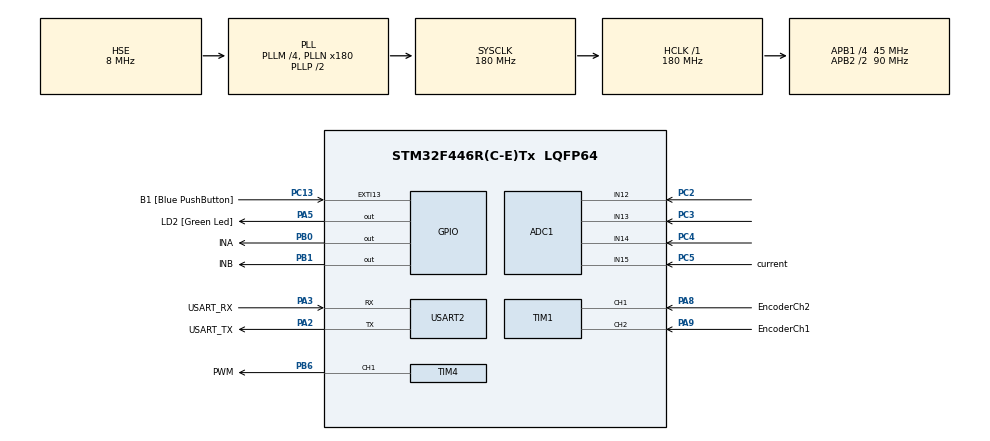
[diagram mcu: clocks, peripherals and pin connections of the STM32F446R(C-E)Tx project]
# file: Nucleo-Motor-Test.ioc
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ADC1.Channel-2\#ChannelRegularConversion=ADC_CHANNEL_15
ADC1.ContinuousConvMode=ENABLE
ADC1.DMAContinuousRequests=ENABLE
ADC1.InjNumberOfConversion=0
ADC1.NbrOfConversion=1
ADC1.NbrOfConversionFlag=1
ADC1.Rank-2\#ChannelRegularConversion=1
ADC1.SamplingTime-2\#ChannelRegularConversion=ADC_SAMPLETIME_3CYCLES
ADC1.ScanConvMode=DISABLE
ADC1.master=1
Dma.ADC1.0.Direction=DMA_PERIPH_TO_MEMORY
Dma.ADC1.0.FIFOMode=DMA_FIFOMODE_DISABLE
Dma.ADC1.0.Instance=DMA2_Stream0
Dma.ADC1.0.MemDataAlignment=DMA_MDATAALIGN_HALFWORD
Dma.ADC1.0.MemInc=DMA_MINC_ENABLE
Dma.ADC1.0.Mode=DMA_CIRCULAR
Dma.ADC1.0.PeriphDataAlignment=DMA_PDATAALIGN_HALFWORD
Dma.ADC1.0.PeriphInc=DMA_PINC_DISABLE
Dma.ADC1.0.Priority=DMA_PRIORITY_LOW
Dma.Request0=ADC1
Mcu.Family=STM32F4
Mcu.Name=STM32F446R(C-E)Tx
Mcu.Package=LQFP64
NVIC.DMA2_Stream0_IRQn=true\:0\:0\:false\:false\:true\:false\:true\:true
NVIC.PriorityGroup=NVIC_PRIORITYGROUP_0
NVIC.TIM4_IRQn=true\:0\:0\:false\:false\:true\:true\:true\:true
PA13.GPIO_Label=TMS
PA13.Mode=Serial_Wire
PA13.Signal=SYS_JTMS-SWDIO
PA14.GPIO_Label=TCK
PA14.Mode=Serial_Wire
PA14.Signal=SYS_JTCK-SWCLK
PA2.GPIO_Label=USART_TX
PA2.Mode=Asynchronous
PA2.Signal=USART2_TX
PA3.GPIO_Label=USART_RX
PA3.Mode=Asynchronous
PA3.Signal=USART2_RX
PA5.GPIO_Label=LD2 [Green Led]
PA5.Signal=GPIO_Output
PA8.GPIO_Label=EncoderCh2
PA8.Signal=S_TIM1_CH1
PA9.GPIO_Label=EncoderCh1
PA9.Signal=S_TIM1_CH2
PB0.GPIO_Label=INA
PB0.GPIO_Speed=GPIO_SPEED_FREQ_VERY_HIGH
PB0.Signal=GPIO_Output
PB1.GPIO_Label=INB
PB1.GPIO_Speed=GPIO_SPEED_FREQ_VERY_HIGH
PB1.Signal=GPIO_Output
PB3.GPIO_Label=SWO
PB3.Signal=SYS_JTDO-SWO
PB6.GPIO_Label=PWM
PB6.Signal=S_TIM4_CH1
PC13.GPIO_Label=B1 [Blue PushButton]
PC13.GPIO_ModeDefaultEXTI=GPIO_MODE_IT_FALLING
PC13.Signal=GPXTI13
PC14-OSC32_IN.Mode=LSE-External-Oscillator
PC14-OSC32_IN.Signal=RCC_OSC32_IN
PC15-OSC32_OUT.Mode=LSE-External-Oscillator
PC15-OSC32_OUT.Signal=RCC_OSC32_OUT
PC2.Signal=ADCx_IN12
PC3.Signal=ADCx_IN13
PC4.Signal=ADCx_IN14
PC5.GPIO_Label=current
PC5.Signal=ADCx_IN15
PH0-OSC_IN.Mode=HSE-External-Oscillator
PH0-OSC_IN.Signal=RCC_OSC_IN
PH1-OSC_OUT.Mode=HSE-External-Oscillator
PH1-OSC_OUT.Signal=RCC_OSC_OUT
ProjectManager.HeapSize=0x200
ProjectManager.StackSize=0x400
ProjectManager.TargetToolchain=STM32CubeIDE
RCC.48MHZClocksFreq_Value=84000000
RCC.AHBFreq_Value=180000000
RCC.APB1CLKDivider=RCC_HCLK_DIV4
RCC.APB1Freq_Value=45000000
RCC.APB1TimFreq_Value=90000000
RCC.APB2CLKDivider=RCC_HCLK_DIV2
RCC.APB2Freq_Value=90000000
RCC.APB2TimFreq_Value=180000000
RCC.CortexFreq_Value=180000000
RCC.FLatency-AdvancedSettings=FLASH_LATENCY_5
RCC.HCLKFreq_Value=180000000
RCC.HSE_VALUE=8000000
RCC.HSI_VALUE=16000000
RCC.PLLM=4
RCC.PLLN=180
RCC.PLLSourceVirtual=RCC_PLLSOURCE_HSE
RCC.SYSCLKFreq_VALUE=180000000
RCC.SYSCLKSource=RCC_SYSCLKSOURCE_PLLCLK
RCC.USBFreq_Value=180000000
RCC.VCOOutputFreq_Value=360000000
SH.ADCx_IN12.0=ADC1_IN12,IN12
SH.ADCx_IN13.0=ADC1_IN13,IN13
SH.ADCx_IN14.0=ADC1_IN14,IN14
SH.ADCx_IN15.0=ADC1_IN15,IN15
SH.S_TIM1_CH1.0=TIM1_CH1,Encoder_Interface
SH.S_TIM1_CH2.0=TIM1_CH2,Encoder_Interface
SH.S_TIM4_CH1.0=TIM4_CH1,PWM Generation1 CH1
TIM1.EncoderMode=TIM_ENCODERMODE_TI12
TIM4.Channel-PWM\ Generation1\ CH1=TIM_CHANNEL_1
TIM4.Period=7199
USART2.VirtualMode=VM_ASYNC
board=NUCLEO-F446RE

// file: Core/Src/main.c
/* USER CODE BEGIN Header */
/**
  ******************************************************************************
  * @file           : main.c
  * @brief          : Main program body
  ******************************************************************************
  * @attention
  *
  * Copyright (c) 2025 STMicroelectronics.
  * All rights reserved.
  *
  * This software is licensed under terms that can be found in the LICENSE file
  * in the root directory of this software component.
  * If no LICENSE file comes with this software, it is provided AS-IS.
  *
  ******************************************************************************
  */
/* USER CODE END Header */
#include "main.h"

/* USER CODE BEGIN Includes */
#include "encoders.h"
#include "motors.h"
#include "serial_oscilloscope.h"
#include "FIRFilter.h"

/* USER CODE END Includes */

/* USER CODE BEGIN PD */
#define NUM_CHANNELS 2

/* USER CODE END PD */

ADC_HandleTypeDef hadc1;
DMA_HandleTypeDef hdma_adc1;

TIM_HandleTypeDef htim1;
TIM_HandleTypeDef htim4;

UART_HandleTypeDef huart2;

/* USER CODE BEGIN PV */
int16_t encoder_counts = 0;
uint16_t current = 0;
float filteredCurrent = 0;

float pwm = 0.0f;
float pwm_step = 0.01f; // Change per update
uint32_t delay_ms = 50; // Delay between updates

int16_t data_values[NUM_CHANNELS];
char *labels[NUM_CHANNELS] = {"i", "f_i"};

FIRFilter currentFilterMovingAverage;

/* USER CODE END PV */

void SystemClock_Config(void);
static void MX_GPIO_Init(void);
static void MX_DMA_Init(void);
static void MX_USART2_UART_Init(void);
static void MX_TIM1_Init(void);
static void MX_TIM4_Init(void);
static void MX_ADC1_Init(void);

int main(void)
{

  /* MCU Configuration--------------------------------------------------------*/

  /* Reset of all peripherals, Initializes the Flash interface and the Systick. */
  HAL_Init();

  /* Configure the system clock */
  SystemClock_Config();

  /* Initialize all configured peripherals */
  MX_GPIO_Init();
  MX_DMA_Init();
  MX_USART2_UART_Init();
  MX_TIM1_Init();
  MX_TIM4_Init();
  MX_ADC1_Init();
  /* USER CODE BEGIN 2 */
  HAL_TIM_Encoder_Start(&htim1, TIM_CHANNEL_ALL);
  HAL_TIM_PWM_Start(&htim4, TIM_CHANNEL_1);

  resetMotors();

  /* Initialize Serial Oscilloscope */
  SerialOscilloscope_Config_t osc_config = {
	  .huart = &huart2,
	  .sample_rate_ms = 20,
	  .max_channels = NUM_CHANNELS
  };
  if (SerialOscilloscope_Init(&osc_config) != HAL_OK) {
	  Error_Handler();
  }

  FIRFilter_Init(&currentFilterMovingAverage);

  HAL_Delay(5000);
  //setMotorPWM(0.9);

  /* USER CODE END 2 */

  /* Infinite loop */
  while (1)
  {

    /* USER CODE BEGIN 3 */
	encoder_counts = (int16_t) TIM1->CNT;
	current = getCurrentMilliamps();
	filteredCurrent = FIRFilter_Update(&currentFilterMovingAverage, current);
	//current = analogRead();

	/* Check if it's time to sample */
	if (SerialOscilloscope_IsTimeToSample()) {
		/* Read ADC channels */
		/* Convert to signed values if needed */
		data_values[0] = (int16_t)current;
		data_values[1] = (int16_t)filteredCurrent;

		/* Send data to Serial Oscilloscope */
		// Option 1: Send raw data
		//SerialOscilloscope_SendData(data_values, NUM_CHANNELS);

		// Option 2: Send labeled data (uncomment if needed)
		SerialOscilloscope_SendLabeledData(labels, data_values, NUM_CHANNELS);

	}

	setMotorPWM(pwm);
	HAL_Delay(delay_ms);

	pwm += pwm_step;

	// If PWM exceeds limits, reverse the increment direction
	if (pwm >= 1.0f) {
	  pwm = 1.0f;
	  pwm_step = -pwm_step;
	}
	else if (pwm <= -1.0f) {
	  pwm = -1.0f;
	  pwm_step = -pwm_step;
	}

  }
  /* USER CODE END 3 */
}

void SystemClock_Config(void)
{
  RCC_OscInitTypeDef RCC_OscInitStruct = {0};
  RCC_ClkInitTypeDef RCC_ClkInitStruct = {0};

  /** Configure the main internal regulator output voltage
  */
  __HAL_RCC_PWR_CLK_ENABLE();
  __HAL_PWR_VOLTAGESCALING_CONFIG(PWR_REGULATOR_VOLTAGE_SCALE1);

  /** Initializes the RCC Oscillators according to the specified parameters
  * in the RCC_OscInitTypeDef structure.
  */
  RCC_OscInitStruct.OscillatorType = RCC_OSCILLATORTYPE_HSE;
  RCC_OscInitStruct.HSEState = RCC_HSE_ON;
  RCC_OscInitStruct.PLL.PLLState = RCC_PLL_ON;
  RCC_OscInitStruct.PLL.PLLSource = RCC_PLLSOURCE_HSE;
  RCC_OscInitStruct.PLL.PLLM = 4;
  RCC_OscInitStruct.PLL.PLLN = 180;
  RCC_OscInitStruct.PLL.PLLP = RCC_PLLP_DIV2;
  RCC_OscInitStruct.PLL.PLLQ = 2;
  RCC_OscInitStruct.PLL.PLLR = 2;
  if (HAL_RCC_OscConfig(&RCC_OscInitStruct) != HAL_OK)
  {
    Error_Handler();
  }

  /** Activate the Over-Drive mode
  */
  if (HAL_PWREx_EnableOverDrive() != HAL_OK)
  {
    Error_Handler();
  }

  /** Initializes the CPU, AHB and APB buses clocks
  */
  RCC_ClkInitStruct.ClockType = RCC_CLOCKTYPE_HCLK|RCC_CLOCKTYPE_SYSCLK
                              |RCC_CLOCKTYPE_PCLK1|RCC_CLOCKTYPE_PCLK2;
  RCC_ClkInitStruct.SYSCLKSource = RCC_SYSCLKSOURCE_PLLCLK;
  RCC_ClkInitStruct.AHBCLKDivider = RCC_SYSCLK_DIV1;
  RCC_ClkInitStruct.APB1CLKDivider = RCC_HCLK_DIV4;
  RCC_ClkInitStruct.APB2CLKDivider = RCC_HCLK_DIV2;

  if (HAL_RCC_ClockConfig(&RCC_ClkInitStruct, FLASH_LATENCY_5) != HAL_OK)
  {
    Error_Handler();
  }
}

static void MX_ADC1_Init(void)
{

  ADC_ChannelConfTypeDef sConfig = {0};

  /** Configure the global features of the ADC (Clock, Resolution, Data Alignment and number of conversion)
  */
  hadc1.Instance = ADC1;
  hadc1.Init.ClockPrescaler = ADC_CLOCK_SYNC_PCLK_DIV4;
  hadc1.Init.Resolution = ADC_RESOLUTION_12B;
  hadc1.Init.ScanConvMode = DISABLE;
  hadc1.Init.ContinuousConvMode = ENABLE;
  hadc1.Init.DiscontinuousConvMode = DISABLE;
  hadc1.Init.ExternalTrigConvEdge = ADC_EXTERNALTRIGCONVEDGE_NONE;
  hadc1.Init.ExternalTrigConv = ADC_SOFTWARE_START;
  hadc1.Init.DataAlign = ADC_DATAALIGN_RIGHT;
  hadc1.Init.NbrOfConversion = 1;
  hadc1.Init.DMAContinuousRequests = ENABLE;
  hadc1.Init.EOCSelection = ADC_EOC_SINGLE_CONV;
  if (HAL_ADC_Init(&hadc1) != HAL_OK)
  {
    Error_Handler();
  }

  /** Configure for the selected ADC regular channel its corresponding rank in the sequencer and its sample time.
  */
  sConfig.Channel = ADC_CHANNEL_15;
  sConfig.Rank = 1;
  sConfig.SamplingTime = ADC_SAMPLETIME_3CYCLES;
  if (HAL_ADC_ConfigChannel(&hadc1, &sConfig) != HAL_OK)
  {
    Error_Handler();
  }

}

static void MX_TIM1_Init(void)
{

  TIM_Encoder_InitTypeDef sConfig = {0};
  TIM_MasterConfigTypeDef sMasterConfig = {0};

  htim1.Instance = TIM1;
  htim1.Init.Prescaler = 0;
  htim1.Init.CounterMode = TIM_COUNTERMODE_UP;
  htim1.Init.Period = 65535;
  htim1.Init.ClockDivision = TIM_CLOCKDIVISION_DIV1;
  htim1.Init.RepetitionCounter = 0;
  htim1.Init.AutoReloadPreload = TIM_AUTORELOAD_PRELOAD_DISABLE;
  sConfig.EncoderMode = TIM_ENCODERMODE_TI12;
  sConfig.IC1Polarity = TIM_ICPOLARITY_RISING;
  sConfig.IC1Selection = TIM_ICSELECTION_DIRECTTI;
  sConfig.IC1Prescaler = TIM_ICPSC_DIV1;
  sConfig.IC1Filter = 0;
  sConfig.IC2Polarity = TIM_ICPOLARITY_RISING;
  sConfig.IC2Selection = TIM_ICSELECTION_DIRECTTI;
  sConfig.IC2Prescaler = TIM_ICPSC_DIV1;
  sConfig.IC2Filter = 0;
  if (HAL_TIM_Encoder_Init(&htim1, &sConfig) != HAL_OK)
  {
    Error_Handler();
  }
  sMasterConfig.MasterOutputTrigger = TIM_TRGO_RESET;
  sMasterConfig.MasterSlaveMode = TIM_MASTERSLAVEMODE_DISABLE;
  if (HAL_TIMEx_MasterConfigSynchronization(&htim1, &sMasterConfig) != HAL_OK)
  {
    Error_Handler();
  }

}

static void MX_TIM4_Init(void)
{

  TIM_MasterConfigTypeDef sMasterConfig = {0};
  TIM_OC_InitTypeDef sConfigOC = {0};

  htim4.Instance = TIM4;
  htim4.Init.Prescaler = 0;
  htim4.Init.CounterMode = TIM_COUNTERMODE_UP;
  htim4.Init.Period = 7199;
  htim4.Init.ClockDivision = TIM_CLOCKDIVISION_DIV1;
  htim4.Init.AutoReloadPreload = TIM_AUTORELOAD_PRELOAD_DISABLE;
  if (HAL_TIM_PWM_Init(&htim4) != HAL_OK)
  {
    Error_Handler();
  }
  sMasterConfig.MasterOutputTrigger = TIM_TRGO_RESET;
  sMasterConfig.MasterSlaveMode = TIM_MASTERSLAVEMODE_DISABLE;
  if (HAL_TIMEx_MasterConfigSynchronization(&htim4, &sMasterConfig) != HAL_OK)
  {
    Error_Handler();
  }
  sConfigOC.OCMode = TIM_OCMODE_PWM1;
  sConfigOC.Pulse = 0;
  sConfigOC.OCPolarity = TIM_OCPOLARITY_HIGH;
  sConfigOC.OCFastMode = TIM_OCFAST_DISABLE;
  if (HAL_TIM_PWM_ConfigChannel(&htim4, &sConfigOC, TIM_CHANNEL_1) != HAL_OK)
  {
    Error_Handler();
  }
  HAL_TIM_MspPostInit(&htim4);

}

static void MX_USART2_UART_Init(void)
{

  huart2.Instance = USART2;
  huart2.Init.BaudRate = 115200;
  huart2.Init.WordLength = UART_WORDLENGTH_8B;
  huart2.Init.StopBits = UART_STOPBITS_1;
  huart2.Init.Parity = UART_PARITY_NONE;
  huart2.Init.Mode = UART_MODE_TX_RX;
  huart2.Init.HwFlowCtl = UART_HWCONTROL_NONE;
  huart2.Init.OverSampling = UART_OVERSAMPLING_16;
  if (HAL_UART_Init(&huart2) != HAL_OK)
  {
    Error_Handler();
  }

}

static void MX_DMA_Init(void)
{

  /* DMA controller clock enable */
  __HAL_RCC_DMA2_CLK_ENABLE();

  /* DMA interrupt init */
  /* DMA2_Stream0_IRQn interrupt configuration */
  HAL_NVIC_SetPriority(DMA2_Stream0_IRQn, 0, 0);
  HAL_NVIC_EnableIRQ(DMA2_Stream0_IRQn);

}

static void MX_GPIO_Init(void)
{
  GPIO_InitTypeDef GPIO_InitStruct = {0};

  /* GPIO Ports Clock Enable */
  __HAL_RCC_GPIOC_CLK_ENABLE();
  __HAL_RCC_GPIOH_CLK_ENABLE();
  __HAL_RCC_GPIOA_CLK_ENABLE();
  __HAL_RCC_GPIOB_CLK_ENABLE();

  /*Configure GPIO pin Output Level */
  HAL_GPIO_WritePin(LD2_GPIO_Port, LD2_Pin, GPIO_PIN_RESET);

  /*Configure GPIO pin Output Level */
  HAL_GPIO_WritePin(GPIOB, INA_Pin|INB_Pin, GPIO_PIN_RESET);

  /*Configure GPIO pin : B1_Pin */
  GPIO_InitStruct.Pin = B1_Pin;
  GPIO_InitStruct.Mode = GPIO_MODE_IT_FALLING;
  GPIO_InitStruct.Pull = GPIO_NOPULL;
  HAL_GPIO_Init(B1_GPIO_Port, &GPIO_InitStruct);

  /*Configure GPIO pin : LD2_Pin */
  GPIO_InitStruct.Pin = LD2_Pin;
  GPIO_InitStruct.Mode = GPIO_MODE_OUTPUT_PP;
  GPIO_InitStruct.Pull = GPIO_NOPULL;
  GPIO_InitStruct.Speed = GPIO_SPEED_FREQ_LOW;
  HAL_GPIO_Init(LD2_GPIO_Port, &GPIO_InitStruct);

  /*Configure GPIO pins : INA_Pin INB_Pin */
  GPIO_InitStruct.Pin = INA_Pin|INB_Pin;
  GPIO_InitStruct.Mode = GPIO_MODE_OUTPUT_PP;
  GPIO_InitStruct.Pull = GPIO_NOPULL;
  GPIO_InitStruct.Speed = GPIO_SPEED_FREQ_VERY_HIGH;
  HAL_GPIO_Init(GPIOB, &GPIO_InitStruct);

}

/* USER CODE BEGIN 4 */
ADC_HandleTypeDef* Get_HADC1_Ptr(void)
{
    return &hadc1;
}

/* USER CODE END 4 */

void Error_Handler(void)
{
  __disable_irq();
  while (1)
  {
  }
}
